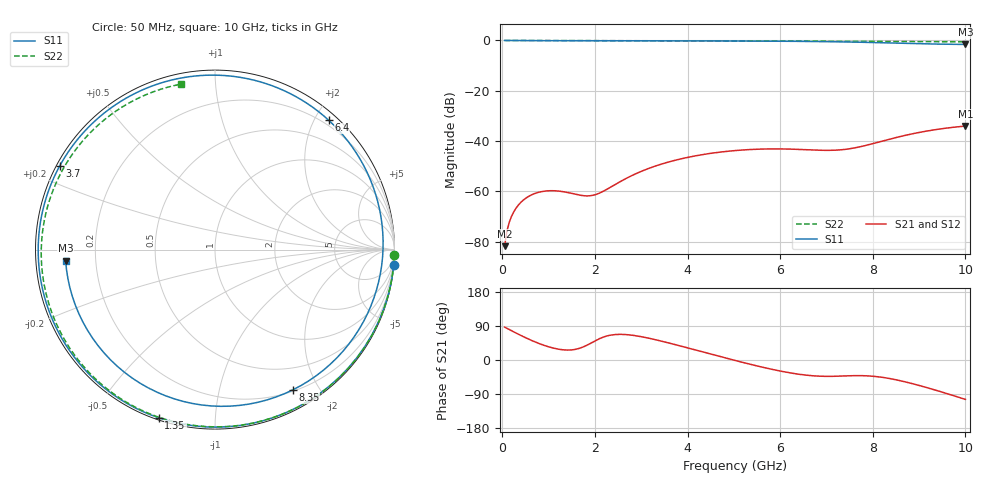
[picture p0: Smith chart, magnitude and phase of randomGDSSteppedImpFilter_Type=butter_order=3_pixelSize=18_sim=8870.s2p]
! freq	dB(S11)	phase(S11)	dB(S12)	phase(S12)
!  dB(S21)	phase(S21)	dB(S22)	phase(S22)
!S-par simulation data
#  GHz  S  DB  R 50
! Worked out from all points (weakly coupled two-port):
!   200 points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, 50 MHz to 10 GHz, reference 50 ohm
!   highest |S21| = -34.04 dB at 10 GHz (marker M1); lowest = -81.8 dB at 50 MHz (marker M2)
!   lowest |S11| = -1.6 dB at 10 GHz (marker M3), VSWR 11.08, Z = 4.52 - j1.83 ohm
!   |S11| at or under -10 dB: nowhere
!   |S22| runs from -0.5 to 0.0 dB; largest |S21 - S12| = 0
!   S11 on the Smith chart (normalised r, x): 50 MHz: 0, -24; 1.35 GHz: 0.01, -0.72; 3.7 GHz: 0.01, +0.25; 6.4 GHz: 0.12, +2.21; 8.35 GHz: 0.22, -1.68; 10 GHz: 0.09, -0.04
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0.05  -0.00 -4.8  -81.76 86.8  -81.76 86.8  -0.00 -1.8
0.2  -0.03 -19.0  -69.88 77.2  -69.88 77.2  -0.01 -7.0
0.45  -0.06 -41.7  -63.52 61.9  -63.52 61.9  -0.02 -15.7
0.85  -0.08 -74.5  -60.08 40.9  -60.08 40.9  -0.04 -29.4
1.35  -0.10 -108.4  -60.22 26.5  -60.22 26.5  -0.06 -46.1
1.75  -0.11 -130.6  -61.69 34.6  -61.69 34.6  -0.07 -58.9
2.05  -0.12 -145.1  -61.04 53.4  -61.04 53.4  -0.08 -68.2
2.5  -0.12 -164.4  -56.59 67.6  -56.59 67.6  -0.10 -81.6
3.4  -0.14 162.1  -49.35 50.9  -49.35 50.9  -0.13 -106.5
3.7  -0.15 151.7  -47.77 41.7  -47.77 41.7  -0.14 -114.3
5.05  -0.22 104.2  -43.73 -2.0  -43.73 -2.0  -0.20 -146.8
5.75  -0.28 77.0  -43.12 -22.7  -43.12 -22.7  -0.23 -162.5
6.4  -0.36 48.7  -43.30 -37.5  -43.30 -37.5  -0.27 -176.7
6.7  -0.41 34.4  -43.54 -41.6  -43.54 -41.6  -0.29 176.7
7.15  -0.51 11.2  -43.64 -43.0  -43.64 -43.0  -0.32 167.0
7.55  -0.64 -11.2  -42.90 -41.4  -42.90 -41.4  -0.35 158.2
7.95  -0.79 -35.3  -41.25 -42.3  -41.25 -42.3  -0.38 149.4
8.35  -0.98 -61.0  -39.30 -48.6  -39.30 -48.6  -0.41 140.5
8.75  -1.17 -88.0  -37.52 -59.1  -37.52 -59.1  -0.44 131.4
9.1  -1.33 -112.3  -36.23 -70.5  -36.23 -70.5  -0.46 123.3
9.55  -1.50 -144.2  -34.94 -86.7  -34.94 -86.7  -0.50 112.6
10  -1.57 -175.8  -34.04 -104.0  -34.04 -104.0  -0.53 101.8
